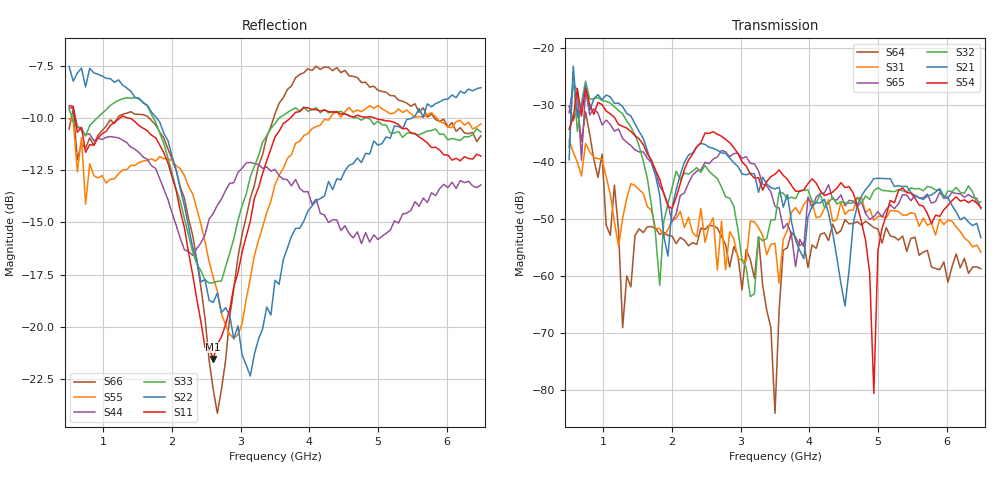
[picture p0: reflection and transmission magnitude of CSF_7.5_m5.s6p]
!Keysight Technologies,M9804A,MY58100912,A.14.10.03
!Date: Thursday, April 27, 2023 10:28:33
!Correction: S11(C  6-Port  )
!S12(C  6-Port  )
!S13(C  6-Port  )
!S14(C  6-Port  )
!S15(C  6-Port  )
!S16(C  6-Port  )
!S21(C  6-Port  )
!S22(C  6-Port  )
!S23(C  6-Port  )
!S24(C  6-Port  )
!S25(C  6-Port  )
!S26(C  6-Port  )
!S31(C  6-Port  )
!S32(C  6-Port  )
!S33(C  6-Port  )
!S34(C  6-Port  )
!S35(C  6-Port  )
!S36(C  6-Port  )
!S41(C  6-Port  )
!S42(C  6-Port  )
!S43(C  6-Port  )
!S44(C  6-Port  )
!S45(C  6-Port  )
!S46(C  6-Port  )
!S51(C  6-Port  )
!S52(C  6-Port  )
!S53(C  6-Port  )
!S54(C  6-Port  )
!S55(C  6-Port  )
!S56(C  6-Port  )
!S61(C  6-Port  )
!S62(C  6-Port  )
!S63(C  6-Port  )
!S64(C  6-Port  )
!S65(C  6-Port  )
!S66(C  6-Port  )
!S6P File: Measurement: :
# Hz S  RI  R 50
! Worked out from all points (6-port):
!   101 points, 500 MHz to 6.5 GHz, reference 50 ohm
!   strongest paths, dB at 500 MHz, 2 GHz, 3.5 GHz, 5 GHz, 6.5 GHz:
!     S54: -34.3, -48.2, -42.2, -55.5, -48.0
!     S21: -39.7, -48.0, -44.8, -42.9, -53.3
!     S32: -37.5, -44.6, -50.2, -44.6, -47.0
!     S65: -31.4, -50.5, -47.8, -48.7, -48.2
!     S31: -36.3, -50.3, -54.3, -49.6, -55.8
!     S64: -30.3, -53.0, -84.1, -51.8, -58.7
!   lowest |S11| = -21.6 dB at 2.6 GHz (marker M1), VSWR 1.18, Z = 42.5 + j2.06 ohm
!   |S11| at or under -10 dB: 587.7 MHz to 1.235 GHz (647.8 MHz wide, 71.1 % of centre); 1.392 GHz to 3.718 GHz (2.326 GHz wide, 91 % of centre); 4.966 GHz to end of sweep
